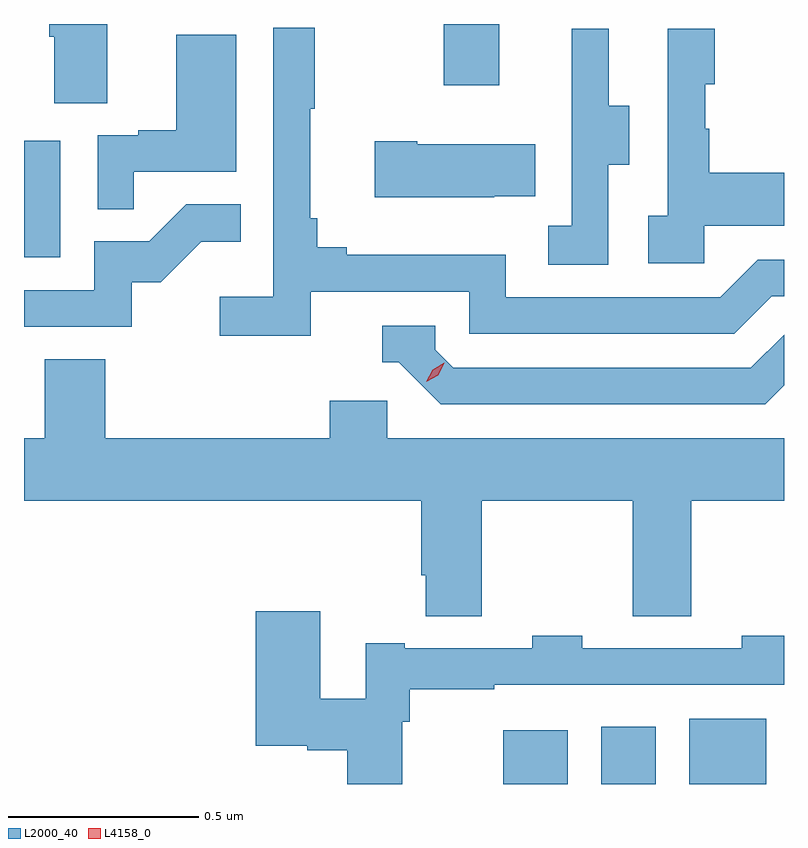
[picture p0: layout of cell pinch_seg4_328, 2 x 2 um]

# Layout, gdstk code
import gdstk
lib = gdstk.Library(unit=1e-6, precision=1e-09)
def R(c, l, rs):  # rectangles x0, y0, x1, y1
    for r in rs: c.add(gdstk.rectangle(r[:2], r[2:], *l))
def P(c, l, *ps):  # polygons
    for p in ps: c.add(gdstk.Polygon(p, *l))
L2000_40 = (2000, 40)
L4158_0 = (4158, 0)

pinch_seg4_328 = lib.new_cell('pinch_seg4_328')
R(pinch_seg4_328, L2000_40, [(893.921,798.738,894.091,798.88), (894.179,798.738,894.322,798.889), (894.41,798.738,894.613,798.91), (892.66,800.124,892.756,800.431), (893.764,800.577,893.911,800.738)])
P(pinch_seg4_328, L2000_40, [(892.879,800.738),(892.727,800.738),(892.727,800.704),(892.739,800.704),(892.739,800.53),(892.879,800.53)],
  [(893.414,800.034),(893.832,800.034),(893.832,799.923),(894.529,799.923),(894.628,800.022),(894.66,800.022),(894.66,800.118),(894.591,800.118),(894.492,800.019),(893.928,800.019),(893.928,800.131),(893.509,800.131),(893.509,800.15),(893.432,800.15),(893.432,800.227),(893.413,800.227),(893.413,800.515),(893.425,800.515),(893.425,800.728),(893.316,800.728),(893.316,800.02),(893.175,800.02),(893.175,799.918),(893.414,799.918)],
  [(894.45,800.207),(894.66,800.207),(894.66,800.347),(894.463,800.347),(894.463,800.462),(894.453,800.462),(894.453,800.58),(894.478,800.58),(894.478,800.725),(894.354,800.725),(894.354,800.234),(894.303,800.234),(894.303,800.109),(894.45,800.109)],
  [(894.198,800.368),(894.253,800.368),(894.253,800.523),(894.199,800.523),(894.199,800.725),(894.101,800.725),(894.101,800.511),(894.102,800.511),(894.102,800.207),(894.039,800.207),(894.039,800.104),(894.198,800.104)],
  [(892.949,800.349),(893.218,800.349),(893.218,800.71),(893.06,800.71),(893.06,800.458),(892.961,800.458),(892.961,800.445),(892.854,800.445),(892.854,800.251),(892.949,800.251)],
  [(893.897,800.285),(894.005,800.285),(894.005,800.422),(893.695,800.422),(893.695,800.43),(893.583,800.43),(893.583,800.282),(893.897,800.282)],
  [(892.944,800.058),(893.02,800.058),(893.127,800.165),(893.231,800.165),(893.231,800.264),(893.087,800.264),(892.989,800.166),(892.845,800.166),(892.845,800.037),(892.66,800.037),(892.66,799.941),(892.944,799.941)],
  [(894.66,799.787),(894.66,799.92),(894.573,799.833),(893.79,799.833),(893.742,799.881),(893.742,799.944),(893.603,799.944),(893.603,799.848),(893.646,799.848),(893.757,799.737),(894.61,799.737)],
  [(893.864,799.484),(894.262,799.484),(894.262,799.18),(894.416,799.18),(894.416,799.484),(894.66,799.484),(894.66,799.648),(893.616,799.648),(893.616,799.746),(893.465,799.746),(893.465,799.648),(892.874,799.648),(892.874,799.856),(892.714,799.856),(892.714,799.648),(892.66,799.648),(892.66,799.484),(893.705,799.484),(893.705,799.288),(893.717,799.288),(893.717,799.18),(893.864,799.18)],
  [(893.656,798.902),(893.675,798.902),(893.675,798.987),(893.897,798.987),(893.897,798.999),(894.66,798.999),(894.66,799.128),(894.549,799.128),(894.549,799.095),(894.129,799.095),(894.129,799.128),(893.997,799.128),(893.997,799.095),(893.662,799.095),(893.662,799.108),(893.559,799.108),(893.559,798.962),(893.44,798.962),(893.44,799.192),(893.27,799.192),(893.27,798.839),(893.406,798.839),(893.406,798.827),(893.51,798.827),(893.51,798.738),(893.656,798.738)])
P(pinch_seg4_328, L4158_0, [(893.718,799.796),(893.718,799.796),(893.735,799.828),(893.766,799.846),(893.766,799.846),(893.766,799.846),(893.75,799.814),(893.719,799.796)])

lib.write_gds('pinch_seg4_328.gds')
